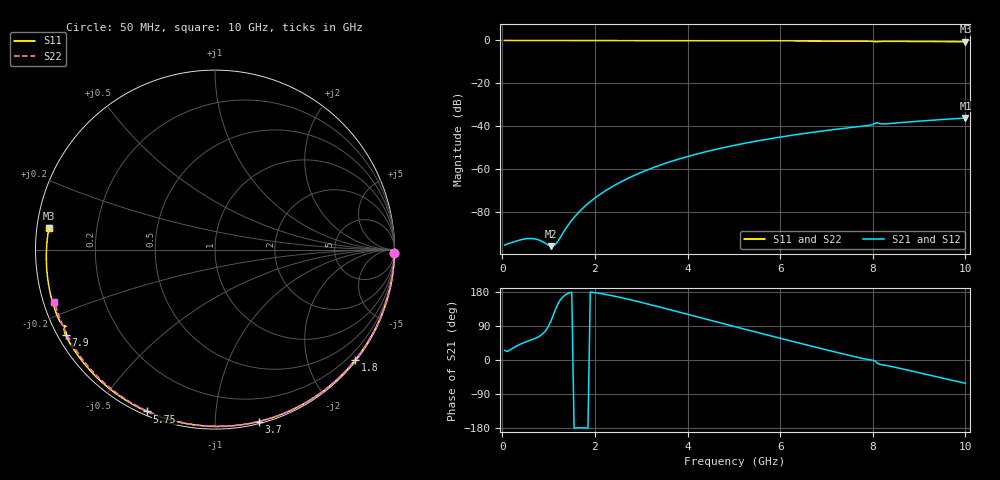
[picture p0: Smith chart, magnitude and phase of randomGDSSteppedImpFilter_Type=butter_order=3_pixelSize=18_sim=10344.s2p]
! freq	dB(S11)	phase(S11)	dB(S12)	phase(S12)
!  dB(S21)	phase(S21)	dB(S22)	phase(S22)
!S-par simulation data
#  GHz  S  DB  R 50
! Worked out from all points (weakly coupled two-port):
!   200 points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, 50 MHz to 10 GHz, reference 50 ohm
!   highest |S21| = -36.24 dB at 10 GHz (marker M1); lowest = -96.1 dB at 1.05 GHz (marker M2)
!   lowest |S11| = -0.6 dB at 10 GHz (marker M3), VSWR 29.03, Z = 1.73 + j3.21 ohm
!   |S11| at or under -10 dB: nowhere
!   |S22| runs from -0.5 to 0.0 dB; largest |S21 - S12| = 0
!   S11 on the Smith chart (normalised r, x): 50 MHz: open; 1.8 GHz: 0.03, -2.90; 3.7 GHz: 0.02, -1.29; 5.75 GHz: 0.02, -0.66; 7.9 GHz: 0.02, -0.27; 10 GHz: 0.03, +0.06
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0.05  -0.00 -1.1  -95.60 25.3  -95.60 25.3  -0.00 -1.0
0.55  -0.01 -11.8  -92.52 49.7  -92.52 49.7  -0.01 -10.4
1.05  -0.03 -22.5  -96.07 102.6  -96.07 102.6  -0.02 -19.8
1.65  -0.04 -35.0  -80.25 -179.0  -80.25 -179.0  -0.04 -30.9
1.75  -0.05 -37.1  -78.10 -179.1  -78.10 -179.1  -0.04 -32.7
1.8  -0.05 -38.1  -77.11 -179.5  -77.11 -179.5  -0.04 -33.6
2.1  -0.06 -44.2  -72.02 175.9  -72.02 175.9  -0.05 -39.0
2.5  -0.07 -52.3  -66.74 166.4  -66.74 166.4  -0.06 -46.2
2.9  -0.08 -60.3  -62.53 155.0  -62.53 155.0  -0.07 -53.2
3.4  -0.09 -70.0  -58.28 139.7  -58.28 139.7  -0.08 -61.9
3.7  -0.10 -75.7  -56.13 130.2  -56.13 130.2  -0.09 -67.0
4.35  -0.12 -87.8  -52.20 109.4  -52.20 109.4  -0.11 -77.7
5.05  -0.15 -100.5  -48.80 87.0  -48.80 87.0  -0.14 -88.9
5.75  -0.19 -112.8  -46.01 65.1  -46.01 65.1  -0.17 -99.8
6.7  -0.25 -129.2  -42.89 35.9  -42.89 35.9  -0.22 -114.1
7.9  -0.36 -150.2  -39.71 1.1  -39.71 1.1  -0.31 -131.6
8.05  -0.57 -153.0  -38.69 -2.7  -38.69 -2.7  -0.32 -133.7
8.1  -0.59 -152.7  -38.47 -8.8  -38.47 -8.8  -0.33 -134.5
8.2  -0.44 -154.2  -38.97 -12.4  -38.97 -12.4  -0.34 -135.9
8.35  -0.42 -157.1  -38.82 -15.7  -38.82 -15.7  -0.35 -138.1
9.2  -0.50 -172.4  -37.36 -39.3  -37.36 -39.3  -0.44 -150.3
10  -0.60 172.7  -36.24 -61.3  -36.24 -61.3  -0.53 -162.0
